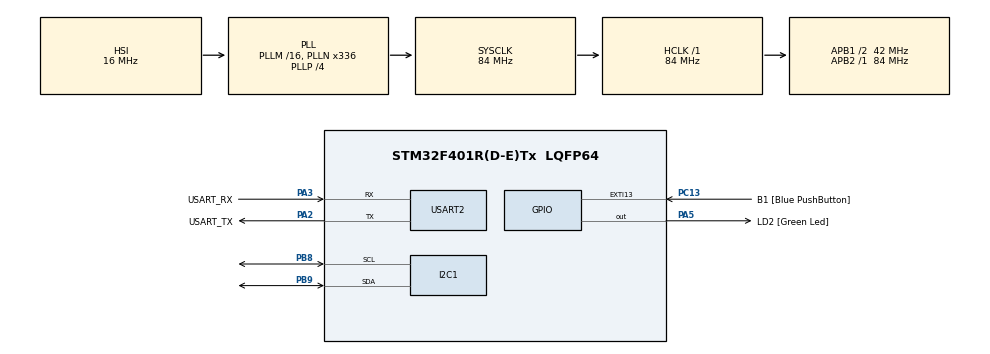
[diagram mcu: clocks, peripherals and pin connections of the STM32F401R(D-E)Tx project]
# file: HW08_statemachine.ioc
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Dma.I2C1_RX.0.Direction=DMA_PERIPH_TO_MEMORY
Dma.I2C1_RX.0.FIFOMode=DMA_FIFOMODE_DISABLE
Dma.I2C1_RX.0.Instance=DMA1_Stream0
Dma.I2C1_RX.0.MemDataAlignment=DMA_MDATAALIGN_BYTE
Dma.I2C1_RX.0.MemInc=DMA_MINC_ENABLE
Dma.I2C1_RX.0.Mode=DMA_NORMAL
Dma.I2C1_RX.0.PeriphDataAlignment=DMA_PDATAALIGN_BYTE
Dma.I2C1_RX.0.PeriphInc=DMA_PINC_DISABLE
Dma.I2C1_RX.0.Priority=DMA_PRIORITY_HIGH
Dma.I2C1_TX.1.Direction=DMA_MEMORY_TO_PERIPH
Dma.I2C1_TX.1.FIFOMode=DMA_FIFOMODE_DISABLE
Dma.I2C1_TX.1.Instance=DMA1_Stream7
Dma.I2C1_TX.1.MemDataAlignment=DMA_MDATAALIGN_BYTE
Dma.I2C1_TX.1.MemInc=DMA_MINC_ENABLE
Dma.I2C1_TX.1.Mode=DMA_NORMAL
Dma.I2C1_TX.1.PeriphDataAlignment=DMA_PDATAALIGN_BYTE
Dma.I2C1_TX.1.PeriphInc=DMA_PINC_DISABLE
Dma.I2C1_TX.1.Priority=DMA_PRIORITY_HIGH
Dma.Request0=I2C1_RX
Dma.Request1=I2C1_TX
Dma.Request2=USART2_TX
Dma.Request3=USART2_RX
Dma.USART2_RX.3.Direction=DMA_PERIPH_TO_MEMORY
Dma.USART2_RX.3.FIFOMode=DMA_FIFOMODE_DISABLE
Dma.USART2_RX.3.Instance=DMA1_Stream5
Dma.USART2_RX.3.MemDataAlignment=DMA_MDATAALIGN_BYTE
Dma.USART2_RX.3.MemInc=DMA_MINC_ENABLE
Dma.USART2_RX.3.Mode=DMA_NORMAL
Dma.USART2_RX.3.PeriphDataAlignment=DMA_PDATAALIGN_BYTE
Dma.USART2_RX.3.PeriphInc=DMA_PINC_DISABLE
Dma.USART2_RX.3.Priority=DMA_PRIORITY_HIGH
Dma.USART2_TX.2.Direction=DMA_MEMORY_TO_PERIPH
Dma.USART2_TX.2.FIFOMode=DMA_FIFOMODE_DISABLE
Dma.USART2_TX.2.Instance=DMA1_Stream6
Dma.USART2_TX.2.MemDataAlignment=DMA_MDATAALIGN_BYTE
Dma.USART2_TX.2.MemInc=DMA_MINC_ENABLE
Dma.USART2_TX.2.Mode=DMA_NORMAL
Dma.USART2_TX.2.PeriphDataAlignment=DMA_PDATAALIGN_BYTE
Dma.USART2_TX.2.PeriphInc=DMA_PINC_DISABLE
Dma.USART2_TX.2.Priority=DMA_PRIORITY_HIGH
Mcu.Family=STM32F4
Mcu.Name=STM32F401R(D-E)Tx
Mcu.Package=LQFP64
NVIC.DMA1_Stream0_IRQn=true\:0\:0\:false\:false\:true\:false\:true\:true
NVIC.DMA1_Stream5_IRQn=true\:0\:0\:false\:false\:true\:false\:true\:true
NVIC.DMA1_Stream6_IRQn=true\:0\:0\:false\:false\:true\:false\:true\:true
NVIC.DMA1_Stream7_IRQn=true\:0\:0\:false\:false\:true\:false\:true\:true
NVIC.I2C1_ER_IRQn=true\:0\:0\:false\:false\:true\:true\:true\:true
NVIC.I2C1_EV_IRQn=true\:0\:0\:false\:false\:true\:true\:true\:true
NVIC.PriorityGroup=NVIC_PRIORITYGROUP_0
NVIC.TIM2_IRQn=true\:0\:0\:false\:false\:true\:true\:true\:true
NVIC.USART2_IRQn=true\:0\:0\:false\:false\:true\:true\:true\:true
PA13.GPIO_Label=TMS
PA13.Mode=Serial_Wire
PA13.Signal=SYS_JTMS-SWDIO
PA14.GPIO_Label=TCK
PA14.Mode=Serial_Wire
PA14.Signal=SYS_JTCK-SWCLK
PA2.GPIO_Label=USART_TX
PA2.GPIO_Mode=GPIO_MODE_AF_PP
PA2.GPIO_PuPd=GPIO_NOPULL
PA2.GPIO_Speed=GPIO_SPEED_FREQ_LOW
PA2.Mode=Asynchronous
PA2.Signal=USART2_TX
PA3.GPIO_Label=USART_RX
PA3.GPIO_Mode=GPIO_MODE_AF_PP
PA3.GPIO_PuPd=GPIO_NOPULL
PA3.GPIO_Speed=GPIO_SPEED_FREQ_LOW
PA3.Mode=Asynchronous
PA3.Signal=USART2_RX
PA5.GPIO_Label=LD2 [Green Led]
PA5.GPIO_Mode=GPIO_MODE_OUTPUT_PP
PA5.GPIO_PuPd=GPIO_NOPULL
PA5.GPIO_Speed=GPIO_SPEED_FREQ_LOW
PA5.Signal=GPIO_Output
PB3.GPIO_Label=SWO
PB3.Signal=SYS_JTDO-SWO
PB8.Mode=I2C
PB8.Signal=I2C1_SCL
PB9.Mode=I2C
PB9.Signal=I2C1_SDA
PC13-ANTI_TAMP.GPIO_Label=B1 [Blue PushButton]
PC13-ANTI_TAMP.GPIO_ModeDefaultEXTI=GPIO_MODE_IT_FALLING
PC13-ANTI_TAMP.GPIO_PuPd=GPIO_NOPULL
PC13-ANTI_TAMP.Signal=GPXTI13
PC14-OSC32_IN.Mode=LSE-External-Oscillator
PC14-OSC32_IN.Signal=RCC_OSC32_IN
PC15-OSC32_OUT.Mode=LSE-External-Oscillator
PC15-OSC32_OUT.Signal=RCC_OSC32_OUT
PH0\ -\ OSC_IN.Mode=HSE-External-Clock-Source
PH0\ -\ OSC_IN.Signal=RCC_OSC_IN
PH1\ -\ OSC_OUT.Mode=HSE-External-Clock-Source
PH1\ -\ OSC_OUT.Signal=RCC_OSC_OUT
ProjectManager.HeapSize=0x200
ProjectManager.StackSize=0x400
ProjectManager.TargetToolchain=STM32CubeIDE
RCC.48MHZClocksFreq_Value=48000000
RCC.AHBFreq_Value=84000000
RCC.APB1CLKDivider=RCC_HCLK_DIV2
RCC.APB1Freq_Value=42000000
RCC.APB1TimFreq_Value=84000000
RCC.APB2Freq_Value=84000000
RCC.APB2TimFreq_Value=84000000
RCC.CortexFreq_Value=84000000
RCC.HCLKFreq_Value=84000000
RCC.HSE_VALUE=8000000
RCC.HSI_VALUE=16000000
RCC.PLLN=336
RCC.PLLP=RCC_PLLP_DIV4
RCC.PLLQ=7
RCC.SYSCLKFreq_VALUE=84000000
RCC.SYSCLKSource=RCC_SYSCLKSOURCE_PLLCLK
RCC.VCOOutputFreq_Value=336000000
TIM2.Period=9999
TIM2.Prescaler=8399
USART2.VirtualMode=VM_ASYNC
VP_TIM2_VS_ClockSourceINT.Mode=Internal
board=NUCLEO-F401RE

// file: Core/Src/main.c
/* USER CODE BEGIN Header */
/**
  ******************************************************************************
  * @file           : main.c
  * @brief          : Main program body
  ******************************************************************************
  * @attention
  *
  * Copyright (c) 2024 STMicroelectronics.
  * All rights reserved.
  *
  * This software is licensed under terms that can be found in the LICENSE file
  * in the root directory of this software component.
  * If no LICENSE file comes with this software, it is provided AS-IS.
  *
  ******************************************************************************
  */
/* USER CODE END Header */
#include "main.h"

/* USER CODE BEGIN Includes */
#include <string.h>
/* USER CODE END Includes */

/* USER CODE BEGIN PD */

#define CTRL_REG1 0x20
#define CTRL_REG2 0x21
#define CTRL_REG4 0x23
#define X_REG     0b10101001

#define LENGTH 5

#define ENABLE_CHANNEL_MODE 0b00010111
#define DISABLE_HIGH_PASS   0b00000000
#define CHANGE_FSR 			0b00000000

// REGISTERS FOR LIS2DE
#define ADDRESS_WRITE 0b01010000
#define ADDRESS_READ  0b01010001
// REGISTERS FOR LIS2DE12
//#define ADDRESS_WRITE 0b00110000
//#define ADDRESS_READ  0b00110010

/* USER CODE END PD */

I2C_HandleTypeDef hi2c1;
DMA_HandleTypeDef hdma_i2c1_rx;
DMA_HandleTypeDef hdma_i2c1_tx;

TIM_HandleTypeDef htim2;

UART_HandleTypeDef huart2;
DMA_HandleTypeDef hdma_usart2_tx;
DMA_HandleTypeDef hdma_usart2_rx;

void SystemClock_Config(void);
static void MX_GPIO_Init(void);
static void MX_DMA_Init(void);
static void MX_USART2_UART_Init(void);
static void MX_I2C1_Init(void);
static void MX_TIM2_Init(void);

/* USER CODE BEGIN 0 */

uint8_t write_buffer[2];
int8_t buffer[LENGTH];
char str[100];
uint8_t state = 0;
int start = 0;
int count = 0;

HAL_I2C_MasterTxCpltCallback(I2C_HandleTypeDef *hi2c) {
	if (hi2c != &hi2c1)
		return;
	ProcessTick();
}

HAL_I2C_MasterRxCpltCallback(I2C_HandleTypeDef *hi2c){

	if(hi2c == &hi2c1){
		float acc_x = buffer[0] / 64.0;
		float acc_y = buffer[2] / 64.0;
		float acc_z = buffer[4] / 64.0;

		int len = snprintf(str, 100, "X: %+.2f Y: %+.2f Z: %+.2f\r\n", acc_x, acc_y, acc_z);
		HAL_UART_Transmit_DMA(&huart2, str, len);
	}
}

HAL_TIM_PeriodElapsedCallback(TIM_HandleTypeDef *htim){
	if(htim == &htim2){
		ProcessTick();
	}
}

ProcessTick() {
	switch (state) {
	case 0:
		write_buffer[0] = CTRL_REG1;
		write_buffer[1] = ENABLE_CHANNEL_MODE;
		HAL_I2C_Master_Transmit_DMA(&hi2c1, ADDRESS_WRITE, write_buffer, 2);
		++state;
		break;
	case 1:
		write_buffer[0] = CTRL_REG2;
		write_buffer[1] = DISABLE_HIGH_PASS;
		HAL_I2C_Master_Transmit_DMA(&hi2c1, ADDRESS_WRITE, write_buffer, 2);
		++state;
		break;
	case 2:
		write_buffer[0] = CTRL_REG4;
		write_buffer[1] = CHANGE_FSR;
		HAL_I2C_Master_Transmit_DMA(&hi2c1, ADDRESS_WRITE, write_buffer, 2);
		++state;
		break;
	case 3:
		HAL_TIM_Base_Start_IT(&htim2);
		__HAL_TIM_CLEAR_IT(&htim2, TIM_IT_UPDATE);
		++state;
		break;
	case 4:
		write_buffer[0] = X_REG;
		HAL_I2C_Master_Transmit_DMA(&hi2c1, ADDRESS_WRITE, write_buffer, 1);
		++state;
		break;
	case 5:
		HAL_I2C_Master_Receive_DMA(&hi2c1, ADDRESS_READ, buffer, LENGTH);
		--state;
		break;
	}
}

/* USER CODE END 0 */

int main(void)
{

  /* MCU Configuration--------------------------------------------------------*/

  /* Reset of all peripherals, Initializes the Flash interface and the Systick. */
  HAL_Init();

  /* Configure the system clock */
  SystemClock_Config();

  /* Initialize all configured peripherals */
  MX_GPIO_Init();
  MX_DMA_Init();
  MX_USART2_UART_Init();
  MX_I2C1_Init();
  MX_TIM2_Init();
  /* USER CODE BEGIN 2 */

  ProcessTick();

  /* USER CODE END 2 */

  /* Infinite loop */
  while (1)
  {

  }
}

void SystemClock_Config(void)
{
  RCC_OscInitTypeDef RCC_OscInitStruct = {0};
  RCC_ClkInitTypeDef RCC_ClkInitStruct = {0};

  /** Configure the main internal regulator output voltage
  */
  __HAL_RCC_PWR_CLK_ENABLE();
  __HAL_PWR_VOLTAGESCALING_CONFIG(PWR_REGULATOR_VOLTAGE_SCALE2);

  /** Initializes the RCC Oscillators according to the specified parameters
  * in the RCC_OscInitTypeDef structure.
  */
  RCC_OscInitStruct.OscillatorType = RCC_OSCILLATORTYPE_HSI;
  RCC_OscInitStruct.HSIState = RCC_HSI_ON;
  RCC_OscInitStruct.HSICalibrationValue = RCC_HSICALIBRATION_DEFAULT;
  RCC_OscInitStruct.PLL.PLLState = RCC_PLL_ON;
  RCC_OscInitStruct.PLL.PLLSource = RCC_PLLSOURCE_HSI;
  RCC_OscInitStruct.PLL.PLLM = 16;
  RCC_OscInitStruct.PLL.PLLN = 336;
  RCC_OscInitStruct.PLL.PLLP = RCC_PLLP_DIV4;
  RCC_OscInitStruct.PLL.PLLQ = 7;
  if (HAL_RCC_OscConfig(&RCC_OscInitStruct) != HAL_OK)
  {
    Error_Handler();
  }

  /** Initializes the CPU, AHB and APB buses clocks
  */
  RCC_ClkInitStruct.ClockType = RCC_CLOCKTYPE_HCLK|RCC_CLOCKTYPE_SYSCLK
                              |RCC_CLOCKTYPE_PCLK1|RCC_CLOCKTYPE_PCLK2;
  RCC_ClkInitStruct.SYSCLKSource = RCC_SYSCLKSOURCE_PLLCLK;
  RCC_ClkInitStruct.AHBCLKDivider = RCC_SYSCLK_DIV1;
  RCC_ClkInitStruct.APB1CLKDivider = RCC_HCLK_DIV2;
  RCC_ClkInitStruct.APB2CLKDivider = RCC_HCLK_DIV1;

  if (HAL_RCC_ClockConfig(&RCC_ClkInitStruct, FLASH_LATENCY_2) != HAL_OK)
  {
    Error_Handler();
  }
}

static void MX_I2C1_Init(void)
{

  hi2c1.Instance = I2C1;
  hi2c1.Init.ClockSpeed = 100000;
  hi2c1.Init.DutyCycle = I2C_DUTYCYCLE_2;
  hi2c1.Init.OwnAddress1 = 0;
  hi2c1.Init.AddressingMode = I2C_ADDRESSINGMODE_7BIT;
  hi2c1.Init.DualAddressMode = I2C_DUALADDRESS_DISABLE;
  hi2c1.Init.OwnAddress2 = 0;
  hi2c1.Init.GeneralCallMode = I2C_GENERALCALL_DISABLE;
  hi2c1.Init.NoStretchMode = I2C_NOSTRETCH_DISABLE;
  if (HAL_I2C_Init(&hi2c1) != HAL_OK)
  {
    Error_Handler();
  }

}

static void MX_TIM2_Init(void)
{

  TIM_ClockConfigTypeDef sClockSourceConfig = {0};
  TIM_MasterConfigTypeDef sMasterConfig = {0};

  htim2.Instance = TIM2;
  htim2.Init.Prescaler = 8399;
  htim2.Init.CounterMode = TIM_COUNTERMODE_UP;
  htim2.Init.Period = 9999;
  htim2.Init.ClockDivision = TIM_CLOCKDIVISION_DIV1;
  htim2.Init.AutoReloadPreload = TIM_AUTORELOAD_PRELOAD_DISABLE;
  if (HAL_TIM_Base_Init(&htim2) != HAL_OK)
  {
    Error_Handler();
  }
  sClockSourceConfig.ClockSource = TIM_CLOCKSOURCE_INTERNAL;
  if (HAL_TIM_ConfigClockSource(&htim2, &sClockSourceConfig) != HAL_OK)
  {
    Error_Handler();
  }
  sMasterConfig.MasterOutputTrigger = TIM_TRGO_RESET;
  sMasterConfig.MasterSlaveMode = TIM_MASTERSLAVEMODE_DISABLE;
  if (HAL_TIMEx_MasterConfigSynchronization(&htim2, &sMasterConfig) != HAL_OK)
  {
    Error_Handler();
  }

}

static void MX_USART2_UART_Init(void)
{

  huart2.Instance = USART2;
  huart2.Init.BaudRate = 115200;
  huart2.Init.WordLength = UART_WORDLENGTH_8B;
  huart2.Init.StopBits = UART_STOPBITS_1;
  huart2.Init.Parity = UART_PARITY_NONE;
  huart2.Init.Mode = UART_MODE_TX_RX;
  huart2.Init.HwFlowCtl = UART_HWCONTROL_NONE;
  huart2.Init.OverSampling = UART_OVERSAMPLING_16;
  if (HAL_UART_Init(&huart2) != HAL_OK)
  {
    Error_Handler();
  }

}

static void MX_DMA_Init(void)
{

  /* DMA controller clock enable */
  __HAL_RCC_DMA1_CLK_ENABLE();

  /* DMA interrupt init */
  /* DMA1_Stream0_IRQn interrupt configuration */
  HAL_NVIC_SetPriority(DMA1_Stream0_IRQn, 0, 0);
  HAL_NVIC_EnableIRQ(DMA1_Stream0_IRQn);
  /* DMA1_Stream5_IRQn interrupt configuration */
  HAL_NVIC_SetPriority(DMA1_Stream5_IRQn, 0, 0);
  HAL_NVIC_EnableIRQ(DMA1_Stream5_IRQn);
  /* DMA1_Stream6_IRQn interrupt configuration */
  HAL_NVIC_SetPriority(DMA1_Stream6_IRQn, 0, 0);
  HAL_NVIC_EnableIRQ(DMA1_Stream6_IRQn);
  /* DMA1_Stream7_IRQn interrupt configuration */
  HAL_NVIC_SetPriority(DMA1_Stream7_IRQn, 0, 0);
  HAL_NVIC_EnableIRQ(DMA1_Stream7_IRQn);

}

static void MX_GPIO_Init(void)
{
  GPIO_InitTypeDef GPIO_InitStruct = {0};

  /* GPIO Ports Clock Enable */
  __HAL_RCC_GPIOC_CLK_ENABLE();
  __HAL_RCC_GPIOH_CLK_ENABLE();
  __HAL_RCC_GPIOA_CLK_ENABLE();
  __HAL_RCC_GPIOB_CLK_ENABLE();

  /*Configure GPIO pin Output Level */
  HAL_GPIO_WritePin(LD2_GPIO_Port, LD2_Pin, GPIO_PIN_RESET);

  /*Configure GPIO pin : B1_Pin */
  GPIO_InitStruct.Pin = B1_Pin;
  GPIO_InitStruct.Mode = GPIO_MODE_IT_FALLING;
  GPIO_InitStruct.Pull = GPIO_NOPULL;
  HAL_GPIO_Init(B1_GPIO_Port, &GPIO_InitStruct);

  /*Configure GPIO pin : LD2_Pin */
  GPIO_InitStruct.Pin = LD2_Pin;
  GPIO_InitStruct.Mode = GPIO_MODE_OUTPUT_PP;
  GPIO_InitStruct.Pull = GPIO_NOPULL;
  GPIO_InitStruct.Speed = GPIO_SPEED_FREQ_LOW;
  HAL_GPIO_Init(LD2_GPIO_Port, &GPIO_InitStruct);

}

void Error_Handler(void)
{
  __disable_irq();
  while (1)
  {
  }
}
